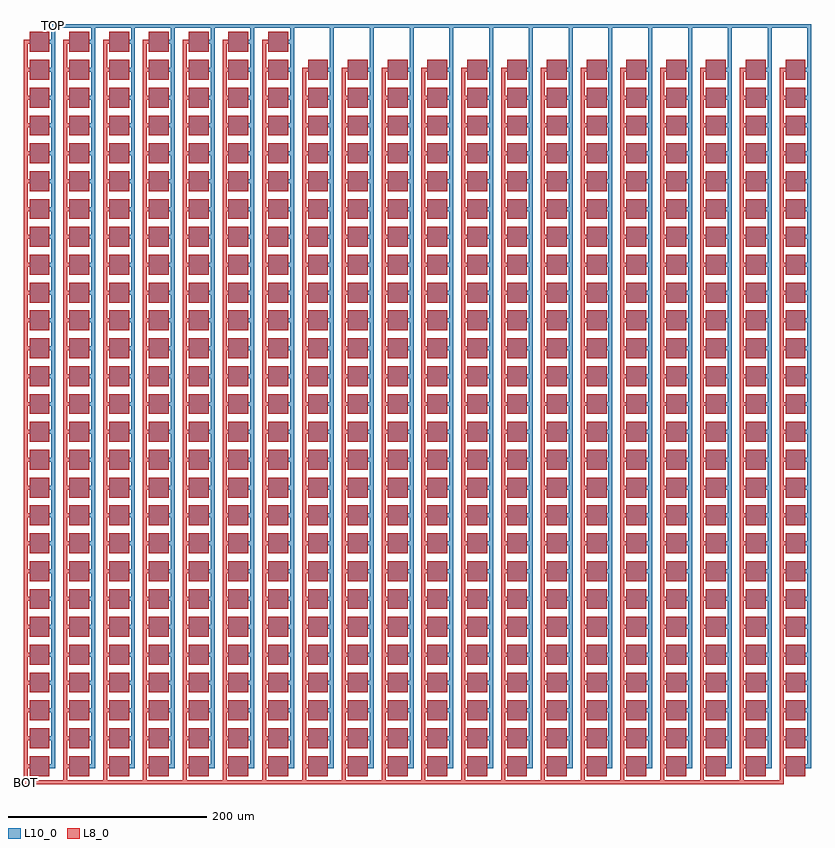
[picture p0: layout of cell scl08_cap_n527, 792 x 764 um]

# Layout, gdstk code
import gdstk
lib = gdstk.Library(unit=1e-6, precision=1e-09)
def R(c, l, rs):  # rectangles x0, y0, x1, y1
    for r in rs: c.add(gdstk.rectangle(r[:2], r[2:], *l))
def A(c, l, x, y, w, h, nx, ny, dx, dy):  # array of equal rectangles
    R(c, l, [(x+i*dx, y+j*dy, x+i*dx+w, y+j*dy+h) for i in range(nx) for j in range(ny)])
L8_0 = (8, 0)
L10_0 = (10, 0)

scl08_cap_n527 = lib.new_cell('scl08_cap_n527')
A(scl08_cap_n527, L8_0, -6, -8, 4, 748, 7, 1, 40, 0)
A(scl08_cap_n527, L8_0, 274, -8, 4, 720, 13, 1, 40, 0)
A(scl08_cap_n527, L8_0, 0, 0, 20, 20, 20, 26, 40, 28)
A(scl08_cap_n527, L8_0, -6, 8, 6, 4, 20, 26, 40, 28)
A(scl08_cap_n527, L8_0, 0, 728, 20, 20, 7, 1, 40, 0)
A(scl08_cap_n527, L8_0, -6, 736, 6, 4, 7, 1, 40, 0)
R(scl08_cap_n527, L8_0, [(-6,-8,758,-4)])
A(scl08_cap_n527, L10_0, 0, 0, 20, 20, 20, 26, 40, 28)
A(scl08_cap_n527, L10_0, 20, 8, 6, 4, 20, 26, 40, 28)
A(scl08_cap_n527, L10_0, 22, 8, 4, 748, 20, 1, 40, 0)
A(scl08_cap_n527, L10_0, 0, 728, 20, 20, 7, 1, 40, 0)
A(scl08_cap_n527, L10_0, 20, 736, 6, 4, 7, 1, 40, 0)
R(scl08_cap_n527, L10_0, [(22,752,786,756)])
scl08_cap_n527.add(gdstk.Label('BOT', (-4,-6), layer=8, texttype=7))
scl08_cap_n527.add(gdstk.Label('TOP', (24,754), layer=10, texttype=7))

lib.write_gds('scl08_cap_n527.gds')
